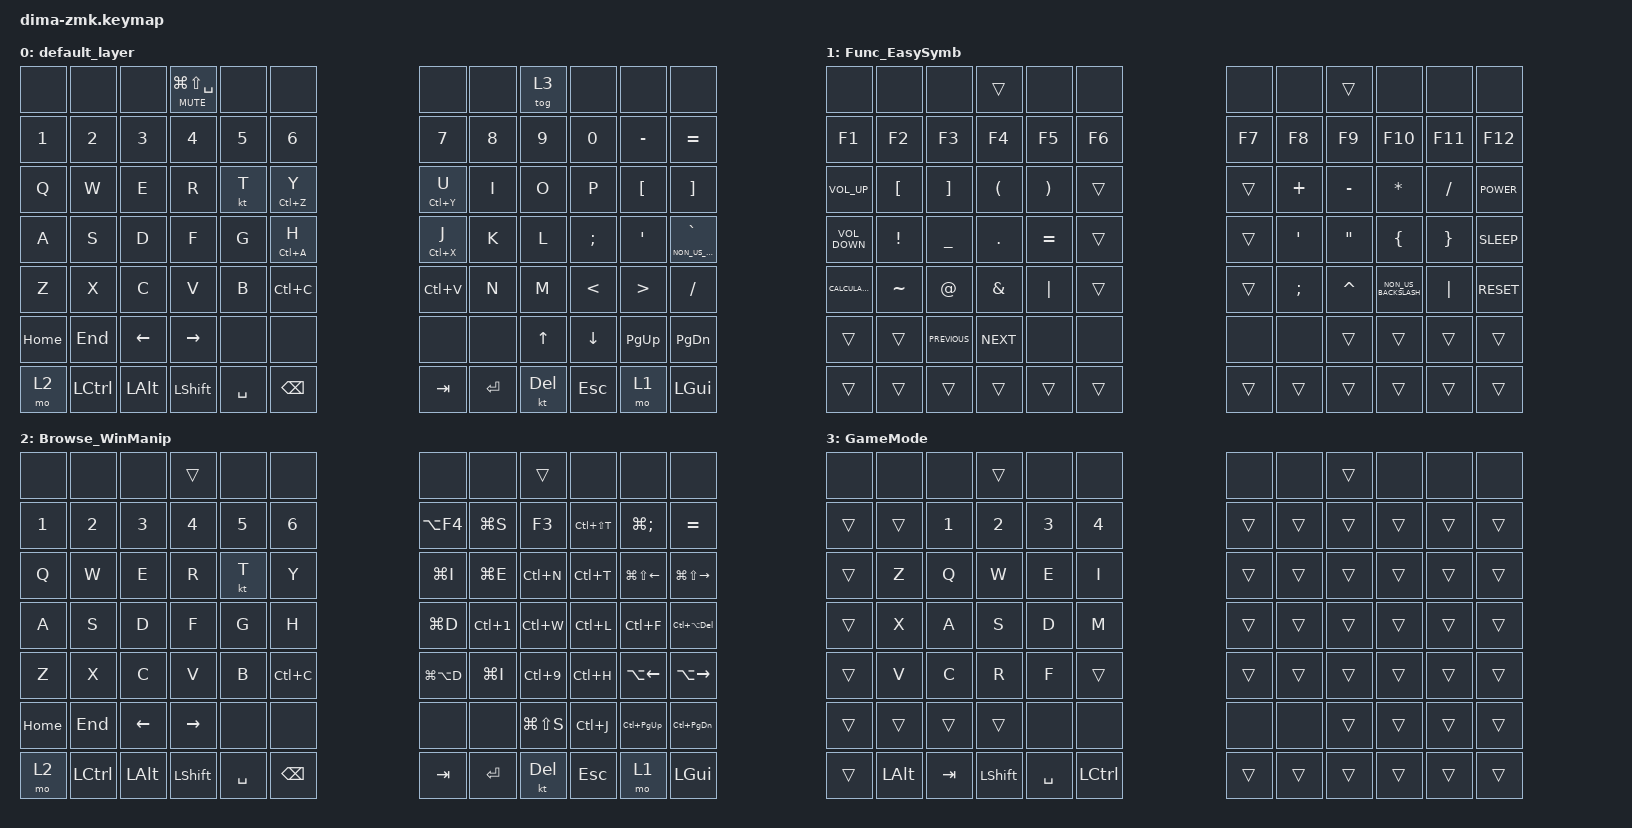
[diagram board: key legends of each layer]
#include <behaviors.dtsi>
#include <dt-bindings/zmk/keys.h>
#include <dt-bindings/zmk/keys.h>

/ {
    keymap {
        compatible = "zmk,keymap";

        default_layer {
            bindings = <
&none     &none       &none     &mt K_MUTE LG(LS(SPACE))   &none       &none                                                                                                               &none        &none      &tog 3        &none           &none             &none
&kp N1    &kp N2      &kp N3    &kp N4                     &kp N5      &kp N6                    				                                                           &kp N7       &kp N8     &kp N9        &kp N0          &kp MINUS         &kp EQUAL
&kp Q     &kp W       &kp E     &kp R                      &kt T       &mt LC(Z) Y                                                                            			           &mt LC(Y) U  &kp I      &kp O         &kp P           &kp LBKT          &kp RIGHT_BRACKET
&kp A     &kp S       &kp D     &kp F            	   &kp G       &mt LC(A) H                                	                                                                   &mt LC(X) J  &kp K      &kp L         &kp SEMICOLON   &kp SQT           &mt NON_US_BACKSLASH GRAVE
&kp Z     &kp X       &kp C     &kp V            	   &kp B       &kp LC(C)                                                                                                           &kp LC(V)    &kp N      &kp M         &kp LESS_THAN   &kp GREATER_THAN  &kp SLASH
&kp HOME  &kp END     &kp LEFT  &kp RIGHT        	   &none       &none                                                                                                               &none        &none      &kp UP_ARROW  &kp DOWN_ARROW  &kp PG_UP         &kp PG_DN
&mo 2     &kp LCTRL   &kp LALT  &kp LEFT_SHIFT   	   &kp SPACE   &kp BSPC                                                                                                            &kp TAB      &kp ENTER  &kt DELETE    &kp ESCAPE      &mo 1             &kp LEFT_GUI                          
            >;
        };

        Func_EasySymb {
            bindings = <
&none              &none             &none              &trans                &none                  &none                                                       &none   &none          &trans             &none                 &none            &none
&kp F1             &kp F2            &kp F3             &kp F4                &kp F5                 &kp F6                                                      &kp F7  &kp F8         &kp F9             &kp F10               &kp F11          &kp F12
&kp K_VOLUME_UP    &kp LEFT_BRACKET  &kp RIGHT_BRACKET  &kp LEFT_PARENTHESIS  &kp RIGHT_PARENTHESIS  &trans                                                      &trans  &kp PLUS       &kp MINUS          &kp ASTERISK          &kp SLASH        &kp K_POWER
&kp K_VOLUME_DOWN  &kp EXCL          &kp UNDERSCORE     &kp PERIOD            &kp EQUAL              &trans                                                      &trans  &kp SQT        &kp DOUBLE_QUOTES  &kp LEFT_BRACE        &kp RIGHT_BRACE  &kp K_SLEEP
&kp K_CALCULATOR   &kp TILDE         &kp AT             &kp AMPS              &kp PIPE               &trans                                                      &trans  &kp SEMICOLON  &kp CARET          &kp NON_US_BACKSLASH  &kp PIPE         &kp C_RESET
&trans             &trans            &kp K_PREVIOUS     &kp K_NEXT            &none                  &none                                                       &none   &none          &trans             &trans                &trans           &trans
&trans             &trans            &trans             &trans                &trans                 &trans                                                      &trans  &trans         &trans             &trans                &trans           &trans
            >;
        };

        Browse_WinManip {
            bindings = <
&none     &none       &none     &trans          &none       &none                                                                                             &none          &none             &trans         &none          &none              &none
&kp N1    &kp N2      &kp N3    &kp N4          &kp N5      &kp N6                                                                                            &kp LA(F4)     &kp LG(S)         &kp F3         &kp LC(LS(T))  &kp LG(SEMICOLON)  &kp EQUAL
&kp Q     &kp W       &kp E     &kp R           &kt T       &kp Y                                                                                             &kp LG(I)      &kp LG(E)         &kp LC(N)      &kp LC(T)      &kp LG(LS(LEFT))   &kp LG(LS(RIGHT))
&kp A     &kp S       &kp D     &kp F           &kp G       &kp H                                                                                             &kp LG(D)      &kp LC(NUMBER_1)  &kp LC(W)      &kp LC(L)      &kp LC(F)          &kp LC(LA(DELETE))
&kp Z     &kp X       &kp C     &kp V           &kp B       &kp LC(C)                                                                                         &kp LG(LA(D))  &kp LG(I)         &kp LC(N9)     &kp LC(H)      &kp LA(LEFT)       &kp LA(RIGHT)
&kp HOME  &kp END     &kp LEFT  &kp RIGHT       &none       &none                                                                                             &none          &none             &kp LG(LS(S))  &kp LC(J)      &kp LC(PAGE_UP)    &kp LC(PAGE_DOWN)
&mo 2     &kp LCTRL   &kp LALT  &kp LEFT_SHIFT  &kp SPACE   &kp BSPC                                                                                          &kp TAB        &kp ENTER         &kt DELETE     &kp ESCAPE     &mo 1              &kp LEFT_GUI
            >;
        };

        GameMode {
            bindings = <
&none   &none    &none         &trans           &none         &none                                                                                             &none   &none   &trans  &none   &none   &none
&trans  &trans   &kp NUMBER_1  &kp NUMBER_2     &kp NUMBER_3  &kp NUMBER_4                                                                                      &trans  &trans  &trans  &trans  &trans  &trans
&trans  &kp Z    &kp Q         &kp W            &kp E         &kp I                                                                                             &trans  &trans  &trans  &trans  &trans  &trans
&trans  &kp X    &kp A         &kp S            &kp D         &kp M                                                                                             &trans  &trans  &trans  &trans  &trans  &trans
&trans  &kp V    &kp C         &kp R            &kp F         &trans                                                                                            &trans  &trans  &trans  &trans  &trans  &trans
&trans  &trans   &trans        &trans           &none         &none                                                                                             &none   &none   &trans  &trans  &trans  &trans
&trans  &kp LALT &kp TAB       &kp LEFT_SHIFT   &kp SPACE     &kp LCTRL                                                                                         &trans  &trans  &trans  &trans  &trans  &trans
            >;
        };
    };
};
